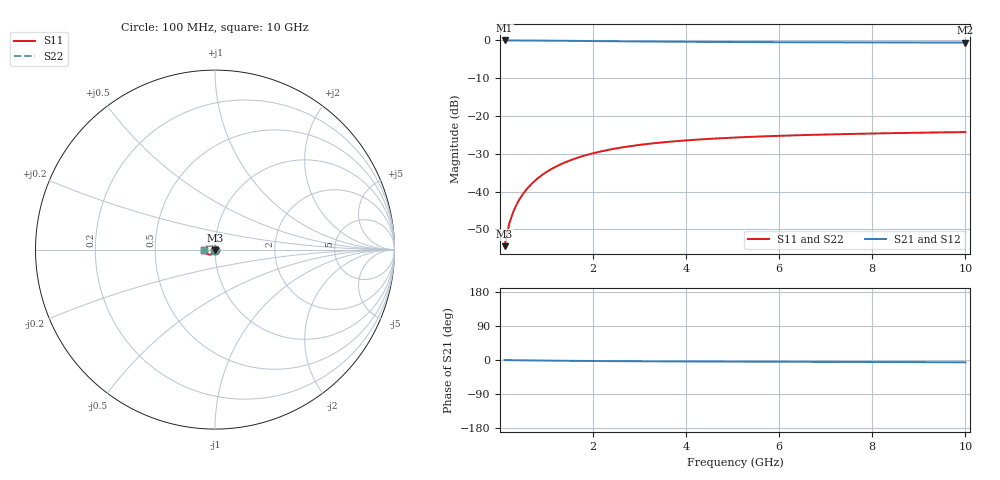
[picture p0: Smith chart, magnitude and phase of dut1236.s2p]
! Touchstone file exported from HFSS 2024.1.0
!  File:  C:/UserFiles/LocalFiles/RDL_TSV_Batchsim/temp_TSV1_1236_1780250990.aedt
!  Generated:  02:15:20 AM Jun  1, 2026
!  Design:  TSV1
!  Project:  temp_TSV1_1236_1780250990
!  Setup:  Setup1
!  Solution:  Sweep
! Variables:
!  dtsv = 13.34um
!  hbump = 3um
!  htsv = 94.07um
!  lrdl = 252.1521522um
!  p = 40
!  p1 = 58.44um
!  t = 500um
!  trdl = 3um
!  wrdl = 24.89489489um
# GHz S MA R 50.000000
! Terminal data exported
! Port[1] = TSV22_T1
! Port[2] = TSV22_T2
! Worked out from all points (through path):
!   100 points, 100 MHz to 10 GHz, reference 50 ohm
!   highest |S21| = 0.00 dB at 100 MHz (marker M1); lowest = -0.6 dB at 10 GHz (marker M2)
!   lowest |S11| = -54.5 dB at 100 MHz (marker M3), VSWR 1.00, Z = 50 - j0.189 ohm
!   |S11| at or under -10 dB: start of sweep to end of sweep
!   |S22| runs from -54.5 to -24.3 dB; largest |S21 - S12| = 5.7e-15
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0.1  0.00189 -89.1  0.9998 -0.2  0.9998 -0.2  0.00189 -89.1
! Gamma 0 0 0 0
! Port Impedance 50 0 50 0
0.2  0.003776 -92.4  0.9996 -0.3  0.9996 -0.3  0.003776 -92.4
0.3  0.005658 -94.7  0.9993 -0.5  0.9993 -0.5  0.005658 -94.7
0.4  0.007528 -96.9  0.9988 -0.7  0.9988 -0.7  0.007528 -96.9
0.5  0.009377 -99.0  0.9982 -0.8  0.9982 -0.8  0.009377 -99.0
0.6  0.0112 -101.0  0.9976 -1.0  0.9976 -1.0  0.0112 -101.0
0.7  0.01299 -103.0  0.9968 -1.1  0.9968 -1.1  0.01299 -103.0
0.8  0.01475 -105.0  0.9959 -1.3  0.9959 -1.3  0.01475 -105.0
0.9  0.01646 -106.9  0.995 -1.4  0.995 -1.4  0.01646 -106.9
1.1  0.01975 -110.6  0.9928 -1.7  0.9928 -1.7  0.01975 -110.6
1.4  0.02432 -115.8  0.9893 -2.1  0.9893 -2.1  0.02432 -115.8
1.6  0.02711 -119.1  0.9868 -2.3  0.9868 -2.3  0.02711 -119.1
1.8  0.0297 -122.3  0.9842 -2.5  0.9842 -2.5  0.0297 -122.3
2.1  0.03321 -126.6  0.9803 -2.8  0.9803 -2.8  0.03321 -126.6
2.5  0.03725 -131.9  0.9753 -3.1  0.9753 -3.1  0.03725 -131.9
2.9  0.04064 -136.6  0.9707 -3.3  0.9707 -3.3  0.04064 -136.6
3.4  0.04415 -141.9  0.9656 -3.6  0.9656 -3.6  0.04415 -141.9
4.2  0.04846 -148.9  0.9588 -4.0  0.9588 -4.0  0.04846 -148.9
5.1  0.052 -155.5  0.9528 -4.3  0.9528 -4.3  0.052 -155.5
6.7  0.05624 -164.6  0.9455 -4.9  0.9455 -4.9  0.05624 -164.6
8.4  0.05921 -172.3  0.9406 -5.4  0.9406 -5.4  0.0592 -172.3
10  0.06125 -178.2  0.9374 -6.0  0.9374 -6.0  0.06125 -178.2
